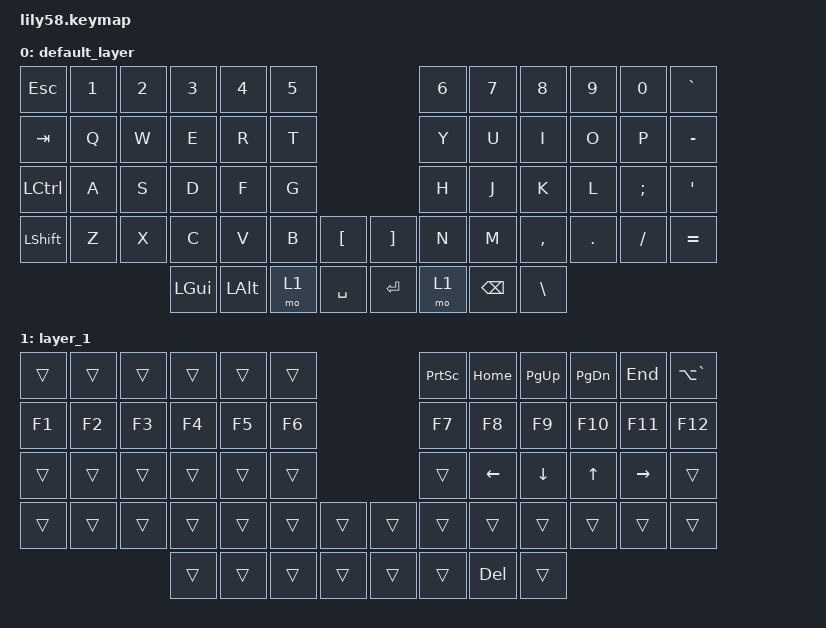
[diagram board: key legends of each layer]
/*
 * Copyright (c) 2020 The ZMK Contributors
 *
 * SPDX-License-Identifier: MIT
 */

#include <behaviors.dtsi>
#include <dt-bindings/zmk/keys.h>

/ {
    keymap {
        compatible = "zmk,keymap";

        default_layer {
            // ------------------------------------------------------------------------------------------------------------
            // |  ESC  |  1  |  2  |  3   |  4   |  5   |                   |  6   |  7    |  8    |  9   |   0   |   `   |
            // |  TAB  |  Q  |  W  |  E   |  R   |  T   |                   |  Y   |  U    |  I    |  O   |   P   |   -   |
            // |  CTRL |  A  |  S  |  D   |  F   |  G   |                   |  H   |  J    |  K    |  L   |   ;   |   '   |
            // | SHIFT |  Z  |  X  |  C   |  V   |  B   |   "["  |  |  "]"  |  N   |  M    |  ,    |  .   |   /   | SHIFT |
            //                     | ALT  | GUI  | LOWER|  SPACE |  | ENTER | RAISE| BSPC  | GUI   |

            bindings = <
&kp ESC    &kp N1  &kp N2  &kp N3    &kp N4    &kp N5                         &kp N6  &kp N7    &kp N8         &kp N9   &kp N0    &kp GRAVE
&kp TAB    &kp Q   &kp W   &kp E     &kp R     &kp T                          &kp Y   &kp U     &kp I          &kp O    &kp P     &kp MINUS
&kp LCTRL  &kp A   &kp S   &kp D     &kp F     &kp G                          &kp H   &kp J     &kp K          &kp L    &kp SEMI  &kp SQT
&kp LSHFT  &kp Z   &kp X   &kp C     &kp V     &kp B   &kp LBKT     &kp RBKT  &kp N   &kp M     &kp COMMA      &kp DOT  &kp FSLH  &kp EQUAL
                           &kp LGUI  &kp LALT  &mo 1   &kp SPACE    &kp RET   &mo 1   &kp BSPC  &kp BACKSLASH
            >;
        };

        layer_1 {
            bindings = <
&trans  &trans  &trans  &trans  &trans  &trans                    &kp PRINTSCREEN  &kp HOME  &kp PG_UP  &kp PG_DN  &kp END    &kp LA(GRAVE)
&kp F1  &kp F2  &kp F3  &kp F4  &kp F5  &kp F6                    &kp F7           &kp F8    &kp F9     &kp F10    &kp F11    &kp F12
&trans  &trans  &trans  &trans  &trans  &trans                    &trans           &kp LEFT  &kp DOWN   &kp UP     &kp RIGHT  &trans
&trans  &trans  &trans  &trans  &trans  &trans  &trans    &trans  &trans           &trans    &trans     &trans     &trans     &trans
                        &trans  &trans  &trans  &trans    &trans  &trans           &kp DEL   &trans
            >;
        };
    };
};
